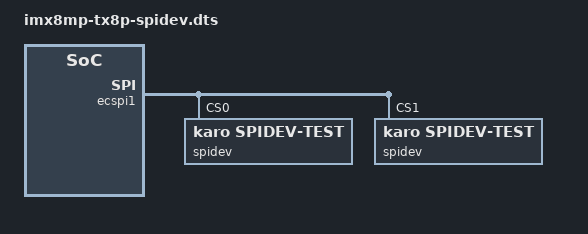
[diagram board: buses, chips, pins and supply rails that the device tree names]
// SPDX-License-Identifier: (GPL-2.0 OR BSD-3-Clause)
/*
 * Copyright (C) 2023 Lothar Waßmann <LW@KARO-electronics.de>
 */

/dts-v1/;

/plugin/;

#include <dt-bindings/gpio/gpio.h>
#include "imx8mp-pinfunc.h"

&{/chosen} {
	overlays {
		tx8p-spidev;
	};
};

&ecspi1 {
	status = "okay";

	spidev@0 {
		reg = <0>;
		compatible = "karo,spidev-test";
		pinctrl-names = "default";
		pinctrl-0 = <&pinctrl_ecspi1_cs0>;
		cs-gpios = <&gpio5 9 GPIO_ACTIVE_LOW>;
	};

	spidev@1 {
		reg = <1>;
		compatible = "karo,spidev-test";
		pinctrl-names = "default";
		pinctrl-0 = <&pinctrl_ecspi1_cs1>;
		cs-gpios = <&gpio4 4 GPIO_ACTIVE_LOW>;
	};
};

&iomuxc {
	pinctrl_ecspi1_cs0: ecspi1-cs0grp {
		fsl,pins = <
			MX8MP_IOMUXC_ECSPI1_SS0__GPIO5_IO09		0x13fe
		>;
	};

	pinctrl_ecspi1_cs1: ecspi1-cs1grp {
		fsl,pins = <
			MX8MP_IOMUXC_SAI1_RXD2__GPIO4_IO04		0x13fe
		>;
	};
};
